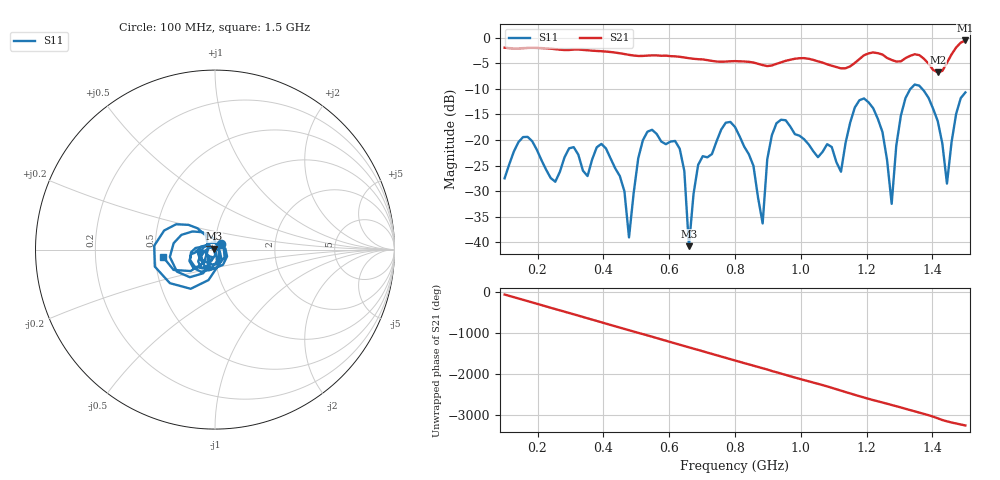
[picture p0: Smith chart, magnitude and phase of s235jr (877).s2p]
! NanoVNA-App
! Date: 2025-09-25 15:11:00
! Start: 100MHz Stop: 1,5GHz Points: 101
! S-Parameter data: F S11 S21 S12 S22
# Hz S RI R 50
!  Frequency  S11_Real  S11_Imag  S21_Real  S21_Imag  S12_Real  S12_Imag  S22_Real  S22_Imag
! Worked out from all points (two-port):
!   101 points, 100 MHz to 1.5 GHz, reference 50 ohm
!   highest |S21| = -0.55 dB at 1.5 GHz (marker M1); lowest = -6.8 dB at 1.416 GHz (marker M2)
!   |S21| within 3 dB of the highest: start of sweep to 501.5 MHz; 524.6 MHz to 595 MHz (70.35 MHz wide, 12.6 % of centre) (the widest 2 of 5)
!   lowest |S11| = -40.7 dB at 660 MHz (marker M3), VSWR 1.02, Z = 49.3 + j0.582 ohm
!   |S11| at or under -10 dB: start of sweep to 1.333 GHz; 1.369 GHz to end of sweep
!   S12 and S22 are empty: the file has one direction only
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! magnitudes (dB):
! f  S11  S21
! 100 MHz  -27.5  -2.0
! 156 MHz  -19.4  -2.0
! 338 MHz  -26.0  -2.4
! 408 MHz  -21.6  -2.7
! 478 MHz  -39.0  -3.4
! 520 MHz  -20.0  -3.6
! 576 MHz  -20.3  -3.5
! 632 MHz  -21.7  -3.7
! 660 MHz  -40.7  -4.0
! 688 MHz  -24.8  -4.2
! 800 MHz  -17.4  -4.6
! 884 MHz  -36.3  -5.4
! 926 MHz  -16.7  -5.1
! 1.038 GHz  -22.2  -4.3
! 1.122 GHz  -26.2  -6.0
! 1.192 GHz  -11.9  -3.4
! 1.248 GHz  -18.4  -3.3
! 1.276 GHz  -32.4  -4.4
! 1.332 GHz  -10.1  -3.6
! 1.416 GHz  -16.3  -6.8
! 1.444 GHz  -28.5  -4.9
! 1.5 GHz  -10.7  -0.6
